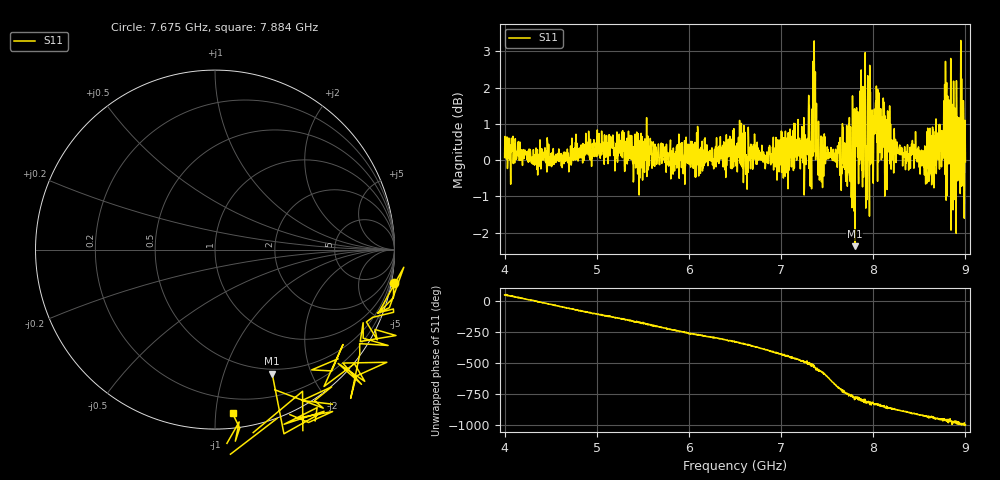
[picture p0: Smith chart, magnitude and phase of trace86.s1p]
! Created with skrf 1.8.0 (http://scikit-rf.org).
# Hz S RI R 50.0
!freq ReS11 ImS11
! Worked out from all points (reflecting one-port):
!   1601 points, 4 GHz to 9 GHz, reference 50 ohm
!   lowest |S11| = -2.4 dB at 7.8 GHz (marker M1), VSWR 7.36, Z = 22.4 - j73.4 ohm
!   phase of S11 starts at 49 deg and turns -1049 deg over the sweep
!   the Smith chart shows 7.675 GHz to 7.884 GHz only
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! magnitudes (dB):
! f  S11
! 4 GHz  0.1
! 4.625 GHz  -0.2
! 5.25 GHz  0.2
! 5.875 GHz  0.4
! 6.5 GHz  0.3
! 7.125 GHz  0.6
! 7.306 GHz  1.5
! 7.328 GHz  0.1
! 7.359 GHz  3.3
! 7.381 GHz  1.0
! 7.4 GHz  0.1
! 7.438 GHz  -0.6
! 7.491 GHz  0.2
! 7.75 GHz  -0.6
! 7.775 GHz  1.8
! 7.8 GHz  -2.4
! 7.891 GHz  0.5
! 7.941 GHz  2.3
! 7.962 GHz  2.6
! 7.981 GHz  0.4
! 8.038 GHz  1.1
! 8.375 GHz  0.1
! 8.438 GHz  0.4
! 8.584 GHz  0.8
! 8.8 GHz  0.4
! 8.869 GHz  -0.2
! 8.959 GHz  2.2
! 9 GHz  0.0
